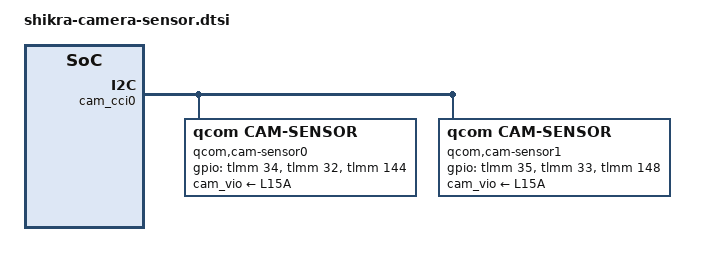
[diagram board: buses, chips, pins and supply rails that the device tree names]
// SPDX-License-Identifier: BSD-3-Clause
/*
 * Copyright (c) Qualcomm Technologies, Inc. and/or its subsidiaries.
 */
#include <dt-bindings/msm-camera.h>

&soc {
	qcom,cam-res-mgr {
		compatible = "qcom,cam-res-mgr";
		status = "ok";
	};
};

&cam_cci0 {
	/*cam0: OV13B10*/
	qcom,cam-sensor0 {
		cell-index = <0>;
		compatible = "qcom,cam-sensor";
		csiphy-sd-index = <0>;
		sensor-position-roll = <0>;
		sensor-position-pitch = <0>;
		sensor-position-yaw = <180>;
		cam_vio-supply = <&L15A>;
		regulator-names = "cam_vio";
		power-domains = <&gcc GCC_CAMSS_TOP_GDSC>;
		rgltr-cntrl-support;
		pwm-switch;
		rgltr-min-voltage = <1800000>;
		rgltr-max-voltage = <1800000>;
		rgltr-load-current = <4000>;
		gpio-no-mux = <0>;
		pinctrl-names = "cam_default", "cam_suspend";
		pinctrl-0 = <&cam_sensor_mclk0_active
		                &cam_sensor_active_rst0>;
		pinctrl-1 = <&cam_sensor_mclk0_suspend
		                &cam_sensor_suspend_rst0>;
		gpios = <&tlmm 34 0>,
			<&tlmm 32 0>,
			<&tlmm 144 0>;
		gpio-reset = <1>;
		gpio-custom1 = <2>;
		gpio-req-tbl-num = <0 1 2>;
		gpio-req-tbl-flags   	 = <1 0 0>;
		gpio-req-tbl-label = "CAM_MCLK0",
		                       "CAMIF_RESET0",
		                         "CAM_CUSTOM1";
		cci-master = <0>;
		clocks = <&gcc GCC_CAMSS_MCLK0_CLK>;
		clock-names = "cam_clk";
		clock-cntl-level = "nominal";
		clock-rates = <24000000>;
		status = "ok";
	};
	/*cam1: OV13B10 for eITP/ITP; IMX858 for ITPS */
	qcom,cam-sensor1 {
		cell-index = <1>;
		compatible = "qcom,cam-sensor";
		csiphy-sd-index = <1>;
		sensor-position-roll = <0>;
		sensor-position-pitch = <0>;
		sensor-position-yaw = <180>;
		cam_vio-supply = <&L15A>;
		regulator-names = "cam_vio";
		power-domains = <&gcc GCC_CAMSS_TOP_GDSC>;
		rgltr-cntrl-support;
		pwm-switch;
		rgltr-min-voltage = <1800000>;
		rgltr-max-voltage = <1800000>;
		rgltr-load-current = <4000>;
		gpio-no-mux = <0>;
		pinctrl-names = "cam_default", "cam_suspend";
		pinctrl-0 = <&cam_sensor_mclk1_active
		                &cam_sensor_active_rst1>;
		pinctrl-1 = <&cam_sensor_mclk1_suspend
		                &cam_sensor_suspend_rst1>;
		gpios = <&tlmm 35 0>,
			<&tlmm 33 0>,
			<&tlmm 148 0>;
		gpio-reset = <1>;
		gpio-custom1 = <2>;
		gpio-req-tbl-num = <0 1 2>;
		gpio-req-tbl-flags   	 = <1 0 0>;
		gpio-req-tbl-label = "CAM_MCLK1",
		                       "CAMIF_RESET1",
		                         "CAM_CUSTOM1";
		cci-master = <1>;
		clocks = <&gcc GCC_CAMSS_MCLK1_CLK>;
		clock-names = "cam_clk";
		clock-cntl-level = "nominal";
		clock-rates = <19200000>;
		status = "ok";
	};
};

